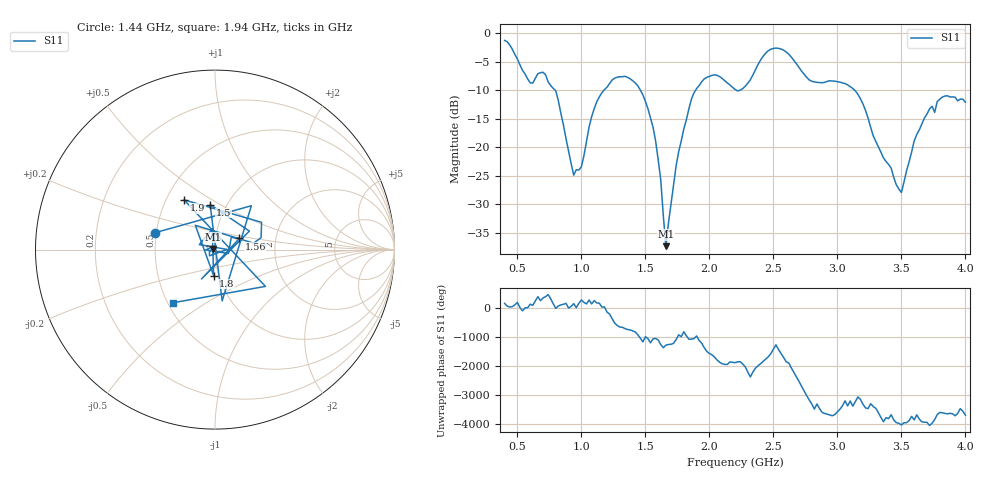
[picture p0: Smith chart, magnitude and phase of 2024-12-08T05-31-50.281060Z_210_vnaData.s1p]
!Created with skrf (http://scikit-rf.org).
# Hz S RI R 50.0
!freq ReS11 ImS11
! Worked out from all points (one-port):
!   181 points, 400 MHz to 4 GHz, reference 50 ohm
!   lowest |S11| = -37.3 dB at 1.66 GHz (marker M1), VSWR 1.03, Z = 48.7 + j0.356 ohm
!   |S11| at or under -10 dB: 794.7 MHz to 1.176 GHz (381.7 MHz wide, 38.7 % of centre); 1.461 GHz to 1.892 GHz (431.3 MHz wide, 25.7 % of centre); 3.135 GHz to end of sweep (the widest 3 of 4)
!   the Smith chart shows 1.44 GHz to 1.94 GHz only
!   S11 on the Smith chart (normalised r, x): 1.44 GHz: 0.49, +0.11; 1.5 GHz: 0.84, +0.45; 1.56 GHz: 1.30, +0.17; 1.8 GHz: 0.94, -0.28; 1.9 GHz: 0.62, +0.38; 1.94 GHz: 0.54, -0.37
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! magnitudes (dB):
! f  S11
! 400 MHz  -1.3
! 600 MHz  -8.7
! 720 MHz  -7.3
! 800 MHz  -10.1
! 860 MHz  -16.1
! 940 MHz  -24.9
! 1 GHz  -23.4
! 1.12 GHz  -12.0
! 1.3 GHz  -7.6
! 1.44 GHz  -9.2
! 1.5 GHz  -12.0
! 1.56 GHz  -16.5
! 1.62 GHz  -25.7
! 1.66 GHz  -37.3
! 1.76 GHz  -20.8
! 1.8 GHz  -16.8
! 1.9 GHz  -9.7
! 1.94 GHz  -8.5
! 2.06 GHz  -7.4
! 2.2 GHz  -9.8
! 2.48 GHz  -2.8
! 2.66 GHz  -4.8
! 2.8 GHz  -8.4
! 3.1 GHz  -9.4
! 3.5 GHz  -27.9
! 3.56 GHz  -22.5
! 3.72 GHz  -13.3
! 4 GHz  -12.1
